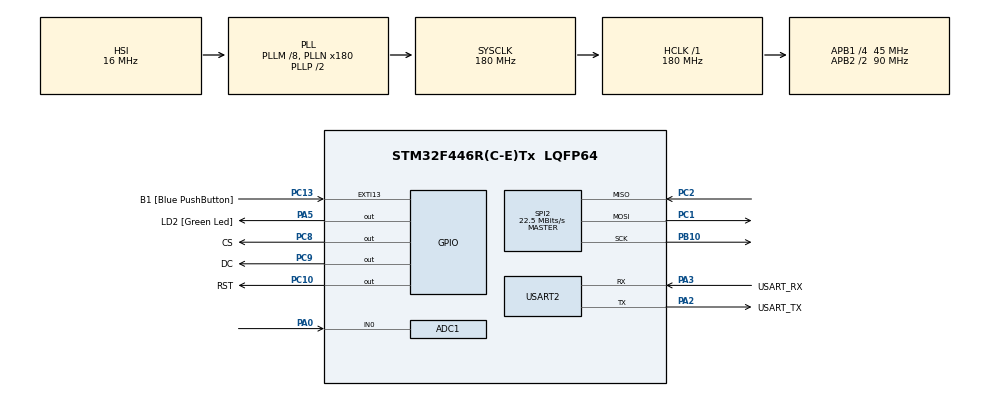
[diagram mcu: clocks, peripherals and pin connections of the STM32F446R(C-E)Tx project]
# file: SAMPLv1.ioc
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ADC1.Channel-0\#ChannelRegularConversion=ADC_CHANNEL_0
ADC1.ClockPrescaler=ADC_CLOCK_SYNC_PCLK_DIV4
ADC1.ContinuousConvMode=DISABLE
ADC1.ExternalTrigConv=ADC_EXTERNALTRIGCONV_T2_TRGO
ADC1.ExternalTrigConvEdge=ADC_EXTERNALTRIGCONVEDGE_RISING
ADC1.NbrOfConversion=1
ADC1.NbrOfConversionFlag=1
ADC1.Rank-0\#ChannelRegularConversion=1
ADC1.SamplingTime-0\#ChannelRegularConversion=ADC_SAMPLETIME_3CYCLES
ADC1.master=1
Dma.ADC1.0.Direction=DMA_PERIPH_TO_MEMORY
Dma.ADC1.0.FIFOMode=DMA_FIFOMODE_DISABLE
Dma.ADC1.0.Instance=DMA2_Stream0
Dma.ADC1.0.MemDataAlignment=DMA_MDATAALIGN_HALFWORD
Dma.ADC1.0.MemInc=DMA_MINC_ENABLE
Dma.ADC1.0.Mode=DMA_CIRCULAR
Dma.ADC1.0.PeriphDataAlignment=DMA_PDATAALIGN_HALFWORD
Dma.ADC1.0.PeriphInc=DMA_PINC_DISABLE
Dma.ADC1.0.Priority=DMA_PRIORITY_LOW
Dma.Request0=ADC1
Mcu.Family=STM32F4
Mcu.Name=STM32F446R(C-E)Tx
Mcu.Package=LQFP64
NVIC.DMA2_Stream0_IRQn=true\:0\:0\:false\:false\:true\:false\:true
NVIC.PriorityGroup=NVIC_PRIORITYGROUP_0
PA0-WKUP.Signal=ADCx_IN0
PA13.GPIO_Label=TMS
PA13.Mode=Serial_Wire
PA13.Signal=SYS_JTMS-SWDIO
PA14.GPIO_Label=TCK
PA14.Mode=Serial_Wire
PA14.Signal=SYS_JTCK-SWCLK
PA2.GPIO_Label=USART_TX
PA2.Mode=Asynchronous
PA2.Signal=USART2_TX
PA3.GPIO_Label=USART_RX
PA3.Mode=Asynchronous
PA3.Signal=USART2_RX
PA5.GPIO_Label=LD2 [Green Led]
PA5.Signal=GPIO_Output
PB10.Mode=Full_Duplex_Master
PB10.Signal=SPI2_SCK
PB3.GPIO_Label=SWO
PB3.Signal=SYS_JTDO-SWO
PC1.Mode=Full_Duplex_Master
PC1.Signal=SPI2_MOSI
PC10.GPIO_Label=RST
PC10.GPIO_Speed=GPIO_SPEED_FREQ_VERY_HIGH
PC10.Signal=GPIO_Output
PC13.GPIO_Label=B1 [Blue PushButton]
PC13.GPIO_ModeDefaultEXTI=GPIO_MODE_IT_FALLING
PC13.Signal=GPXTI13
PC14-OSC32_IN.Mode=LSE-External-Oscillator
PC14-OSC32_IN.Signal=RCC_OSC32_IN
PC15-OSC32_OUT.Mode=LSE-External-Oscillator
PC15-OSC32_OUT.Signal=RCC_OSC32_OUT
PC2.Mode=Full_Duplex_Master
PC2.Signal=SPI2_MISO
PC8.GPIO_Label=CS
PC8.GPIO_Speed=GPIO_SPEED_FREQ_VERY_HIGH
PC8.Signal=GPIO_Output
PC9.GPIO_Label=DC
PC9.GPIO_Speed=GPIO_SPEED_FREQ_VERY_HIGH
PC9.Signal=GPIO_Output
PH0-OSC_IN.Mode=HSE-External-Oscillator
PH0-OSC_IN.Signal=RCC_OSC_IN
PH1-OSC_OUT.Mode=HSE-External-Oscillator
PH1-OSC_OUT.Signal=RCC_OSC_OUT
ProjectManager.HeapSize=0x200
ProjectManager.StackSize=0x400
ProjectManager.TargetToolchain=MDK-ARM V5.27
RCC.48MHZClocksFreq_Value=84000000
RCC.AHBFreq_Value=180000000
RCC.APB1CLKDivider=RCC_HCLK_DIV4
RCC.APB1Freq_Value=45000000
RCC.APB1TimFreq_Value=90000000
RCC.APB2CLKDivider=RCC_HCLK_DIV2
RCC.APB2Freq_Value=90000000
RCC.APB2TimFreq_Value=180000000
RCC.CortexFreq_Value=180000000
RCC.FLatency-AdvancedSettings=FLASH_LATENCY_5
RCC.HCLKFreq_Value=180000000
RCC.HSE_VALUE=8000000
RCC.HSI_VALUE=16000000
RCC.PLLM=8
RCC.PLLN=180
RCC.SYSCLKFreq_VALUE=180000000
RCC.SYSCLKSource=RCC_SYSCLKSOURCE_PLLCLK
RCC.USBFreq_Value=180000000
RCC.VCOOutputFreq_Value=360000000
SH.ADCx_IN0.0=ADC1_IN0,IN0
SPI2.CalculateBaudRate=22.5 MBits/s
SPI2.Direction=SPI_DIRECTION_2LINES
SPI2.Mode=SPI_MODE_MASTER
SPI2.VirtualType=VM_MASTER
TIM2.AutoReloadPreload=TIM_AUTORELOAD_PRELOAD_ENABLE
TIM2.Period=3515
TIM2.Prescaler=0
TIM2.TIM_MasterOutputTrigger=TIM_TRGO_UPDATE
USART2.VirtualMode=VM_ASYNC
VP_TIM2_VS_ClockSourceINT.Mode=Internal
board=NUCLEO-F446RE

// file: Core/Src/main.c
/* USER CODE BEGIN Header */
/**
  ******************************************************************************
  * @file           : main.c
  * @brief          : Main program body
  ******************************************************************************
  * @attention
  *
  * <h2><center>&copy; Copyright (c) 2021 STMicroelectronics.
  * All rights reserved.</center></h2>
  *
  * This software component is licensed by ST under BSD 3-Clause license,
  * the "License"; You may not use this file except in compliance with the
  * License. You may obtain a copy of the License at:
  *                        opensource.org/licenses/BSD-3-Clause
  *
  ******************************************************************************
  */
/* USER CODE END Header */
#include "main.h"
#include "adc.h"
#include "dma.h"
#include "spi.h"
#include "tim.h"
#include "usart.h"
#include "gpio.h"

/* USER CODE BEGIN Includes */
#include "arm_math.h"
#include "ILI9341_GFX.h"
#include "ILI9341_STM32_Driver.h"
#include <stdio.h>
#include "BOUDISP.h"
/* USER CODE END Includes */

/* USER CODE BEGIN PD */
#define BLOCKSIZE 5120
#define NUMTAPS 12
//#define BG BLACK
//#define FG WHITE
//#define TG WHITE

/* USER CODE END PD */

/* USER CODE BEGIN PV */
uint16_t ping[BLOCKSIZE], pong[BLOCKSIZE],i;
q15_t pingo[BLOCKSIZE], pongo[BLOCKSIZE];
q15_t pingos[BLOCKSIZE], pongos[BLOCKSIZE];
q15_t D1i[BLOCKSIZE/2], A1i[BLOCKSIZE/2],D1o[BLOCKSIZE/2], A1o[BLOCKSIZE/2];
q15_t D2i[BLOCKSIZE/4], A2i[BLOCKSIZE/4],D2o[BLOCKSIZE/4], A2o[BLOCKSIZE/4];
q15_t D3i[BLOCKSIZE/8], A3i[BLOCKSIZE/8],D3o[BLOCKSIZE/8], A3o[BLOCKSIZE/8];
q15_t D4i[BLOCKSIZE/16], A4i[BLOCKSIZE/16],D4o[BLOCKSIZE/16], A4o[BLOCKSIZE/16];
q15_t D5i[BLOCKSIZE/32], A5i[BLOCKSIZE/32],D5o[BLOCKSIZE/32], A5o[BLOCKSIZE/32];
q15_t D6i[BLOCKSIZE/64], A6i[BLOCKSIZE/64],D6o[BLOCKSIZE/64], A6o[BLOCKSIZE/64];
q15_t D7i[BLOCKSIZE/128], A7i[BLOCKSIZE/128],D7o[BLOCKSIZE/128], A7o[BLOCKSIZE/128];
q15_t D8i[BLOCKSIZE/256], A8i[BLOCKSIZE/256],D8o[BLOCKSIZE/256], A8o[BLOCKSIZE/256];
q15_t D9i[BLOCKSIZE/512], A9i[BLOCKSIZE/512],D9o[BLOCKSIZE/512], A9o[BLOCKSIZE/512];
q15_t Vtrms,Ef,A9,D[9],Df[2],THDu,THDd,THD;
uint8_t pipongf=2,ext=0;
q15_t offset=0x2000;
static q15_t LPFs[BLOCKSIZE + NUMTAPS - 1];
static q15_t HPFs[BLOCKSIZE + NUMTAPS - 1];
 q15_t LPFc[NUMTAPS]={
	0.1115* 32768.0,  0.4946* 32768.0, 0.7511* 32768.0,  0.3153* 32768.0,
 -0.2263* 32768.0, -0.1298* 32768.0, 0.0975* 32768.0,  0.0275* 32768.0,
 -0.0316* 32768.0,  0.0006* 32768.0, 0.0048* 32768.0 ,-0.0011* 32768.0
};
 q15_t HPFc[NUMTAPS]={
 -0.0011* 32768.0, -0.0048* 32768.0,  0.0006* 32768.0,  0.0316* 32768.0,
  0.0275* 32768.0, -0.0975* 32768.0, -0.1298* 32768.0,  0.2262* 32768.0,
  0.3153* 32768.0, -0.7511* 32768.0,  0.4946* 32768.0, -0.1115* 32768.0,
};

/* USER CODE END PV */

void SystemClock_Config(void);

int main(void)
 {

  /* MCU Configuration--------------------------------------------------------*/

  /* Reset of all peripherals, Initializes the Flash interface and the Systick. */
  HAL_Init();

  /* USER CODE BEGIN Init */
	arm_fir_decimate_instance_q15 LPF,HPF;
	arm_fir_decimate_init_q15(&LPF,NUMTAPS,2,&LPFc[0],&LPFs[0],BLOCKSIZE);
	arm_fir_decimate_init_q15(&HPF,NUMTAPS,2,&HPFc[0],&HPFs[0],BLOCKSIZE);
//q15_t source,maxv;
//float32_t	dest,maxf;
//	uint32_t maxi;
//	source=0x0B4C;
//
//	arm_q15_to_float(&source,&dest,1);

  /* USER CODE END Init */

  /* Configure the system clock */
  SystemClock_Config();

  /* Initialize all configured peripherals */
  MX_GPIO_Init();
  MX_DMA_Init();
  MX_ADC1_Init();
  MX_TIM2_Init();
  MX_USART2_UART_Init();
  MX_SPI2_Init();
  /* USER CODE BEGIN 2 */
HAL_TIM_Base_Start(&htim2);
HAL_ADC_Start_DMA(&hadc1,(uint32_t *)ping,BLOCKSIZE);
ILI9341_Init();
initdisp();
  /* USER CODE END 2 */

  /* Infinite loop */
  /* USER CODE BEGIN WHILE */
  while (1)
  { if(pipongf==0&&ext==1) //traitement ping
   {
		arm_scale_q15((q15_t *)ping,0.999969*32768.0,2,pingos,BLOCKSIZE); //mise à l'échelle
		arm_offset_q15 (pingos,-offset,pingo,BLOCKSIZE);		//correction de décalage
		 //calcule des détails et approximations
		arm_fir_decimate_fast_q15(&LPF,pingo,A1i,BLOCKSIZE);	arm_fir_decimate_fast_q15(&HPF,pingo,D1i,BLOCKSIZE);
		arm_fir_decimate_fast_q15(&LPF,A1i,A2i,BLOCKSIZE/2);	arm_fir_decimate_fast_q15(&HPF,A1i,D2i,BLOCKSIZE/2);
		arm_fir_decimate_fast_q15(&LPF,A2i,A3i,BLOCKSIZE/4);	arm_fir_decimate_fast_q15(&HPF,A2i,D3i,BLOCKSIZE/4);
		arm_fir_decimate_fast_q15(&LPF,A3i,A4i,BLOCKSIZE/8);	arm_fir_decimate_fast_q15(&HPF,A3i,D4i,BLOCKSIZE/8);
		arm_fir_decimate_fast_q15(&LPF,A4i,A5i,BLOCKSIZE/16);	arm_fir_decimate_fast_q15(&HPF,A4i,D5i,BLOCKSIZE/16);
		arm_fir_decimate_fast_q15(&LPF,A5i,A6i,BLOCKSIZE/32);	arm_fir_decimate_fast_q15(&HPF,A5i,D6i,BLOCKSIZE/32);
		arm_fir_decimate_fast_q15(&LPF,A6i,A7i,BLOCKSIZE/64);	arm_fir_decimate_fast_q15(&HPF,A6i,D7i,BLOCKSIZE/64);
		arm_fir_decimate_fast_q15(&LPF,A7i,A8i,BLOCKSIZE/128);arm_fir_decimate_fast_q15(&HPF,A7i,D8i,BLOCKSIZE/128);
		arm_fir_decimate_fast_q15(&LPF,A8i,A9i,BLOCKSIZE/256);arm_fir_decimate_fast_q15(&HPF,A8i,D9i,BLOCKSIZE/256);
	  // extraction des indices

		arm_rms_q15 (pingo, BLOCKSIZE, &Vtrms); //VTRMS valeur efficace vrais
				//les valeurs efficaces des détails
		arm_rms_q15 (D1i, BLOCKSIZE/2, &D[0]);	arm_rms_q15 (D2i, BLOCKSIZE/4, &D[1]);	arm_rms_q15 (D3i, BLOCKSIZE/8, &D[2]);
		arm_rms_q15 (D4i, BLOCKSIZE/16, &D[3]);	arm_rms_q15 (D5i, BLOCKSIZE/32, &D[4]);	arm_rms_q15 (D6i, BLOCKSIZE/64, &D[5]);
		arm_rms_q15 (D7i, BLOCKSIZE/128, &D[6]);arm_rms_q15 (D8i, BLOCKSIZE/256, &Df[0]);arm_rms_q15 (D9i, BLOCKSIZE/256, &Df[1]);

		 arm_rms_q15 (A9i, BLOCKSIZE/256, &A9); //A9
		 arm_rms_q15(Df,2,&THDd);arm_rms_q15(D,7,&THDu);		 //THD, Ef
		 updategraph(Vtrms,THDu,A9,THDd,i++);
//		 arm_max_q15(pingo,BLOCKSIZE,&maxv,&maxi);
//		 arm_q15_to_float(&maxv,&maxf,1);
		 ext=0;
	 }
else if(pipongf==1&&ext==1) //traitement pong
   {
		arm_scale_q15((q15_t *)pong,0.999969*32768.0,2,pongos,BLOCKSIZE);
		arm_offset_q15 (pongos,-offset,pongo,BLOCKSIZE);
		arm_fir_decimate_fast_q15(&LPF,pongo,A1o,BLOCKSIZE);arm_fir_decimate_fast_q15(&HPF,pongo,D1o,BLOCKSIZE);
		arm_fir_decimate_fast_q15(&LPF,A1o,A2o,BLOCKSIZE/2);arm_fir_decimate_fast_q15(&HPF,A1o,D2o,BLOCKSIZE/2);
		arm_fir_decimate_fast_q15(&LPF,A2o,A3o,BLOCKSIZE/4);arm_fir_decimate_fast_q15(&HPF,A2o,D3o,BLOCKSIZE/4);
		arm_fir_decimate_fast_q15(&LPF,A3o,A4o,BLOCKSIZE/8);arm_fir_decimate_fast_q15(&HPF,A3o,D4o,BLOCKSIZE/8);
		arm_fir_decimate_fast_q15(&LPF,A4o,A5o,BLOCKSIZE/16);arm_fir_decimate_fast_q15(&HPF,A4o,D5o,BLOCKSIZE/16);
		arm_fir_decimate_fast_q15(&LPF,A5o,A6o,BLOCKSIZE/32);arm_fir_decimate_fast_q15(&HPF,A5o,D6o,BLOCKSIZE/32);
		arm_fir_decimate_fast_q15(&LPF,A6o,A7o,BLOCKSIZE/64);arm_fir_decimate_fast_q15(&HPF,A6o,D7o,BLOCKSIZE/64);
		arm_fir_decimate_fast_q15(&LPF,A7o,A8o,BLOCKSIZE/128);arm_fir_decimate_fast_q15(&HPF,A7o,D8o,BLOCKSIZE/128);
		arm_fir_decimate_fast_q15(&LPF,A8o,A9o,BLOCKSIZE/256);arm_fir_decimate_fast_q15(&HPF,A8o,D9o,BLOCKSIZE/256);
		 //indices
		arm_rms_q15 (pongo, BLOCKSIZE, &Vtrms);
		arm_rms_q15 (D1o, BLOCKSIZE/2, &D[0]);	arm_rms_q15 (D2o, BLOCKSIZE/4, &D[1]);	arm_rms_q15 (D3o, BLOCKSIZE/8, &D[2]);
		arm_rms_q15 (D4o, BLOCKSIZE/16, &D[3]);	arm_rms_q15 (D5o, BLOCKSIZE/32, &D[4]);	arm_rms_q15 (D6o, BLOCKSIZE/64, &D[5]);
		arm_rms_q15 (D7o, BLOCKSIZE/128, &D[6]);arm_rms_q15 (D8o, BLOCKSIZE/256, &Df[0]);arm_rms_q15 (D9o, BLOCKSIZE/256, &Df[1]);

		//A9=A9o[2];
		 arm_rms_q15 (A9o, BLOCKSIZE/256, &A9);
		arm_rms_q15(Df,2,&THDd);arm_rms_q15(D,7,&THDu);		 //THD, Ef
		 		 updategraph(Vtrms,THDu,A9,THDd,i++);
ext=0;
	 }
    /* USER CODE END WHILE */

	 }
}

void SystemClock_Config(void)
{
  RCC_OscInitTypeDef RCC_OscInitStruct = {0};
  RCC_ClkInitTypeDef RCC_ClkInitStruct = {0};

  /** Configure the main internal regulator output voltage
  */
  __HAL_RCC_PWR_CLK_ENABLE();
  __HAL_PWR_VOLTAGESCALING_CONFIG(PWR_REGULATOR_VOLTAGE_SCALE1);
  /** Initializes the RCC Oscillators according to the specified parameters
  * in the RCC_OscInitTypeDef structure.
  */
  RCC_OscInitStruct.OscillatorType = RCC_OSCILLATORTYPE_HSI;
  RCC_OscInitStruct.HSIState = RCC_HSI_ON;
  RCC_OscInitStruct.HSICalibrationValue = RCC_HSICALIBRATION_DEFAULT;
  RCC_OscInitStruct.PLL.PLLState = RCC_PLL_ON;
  RCC_OscInitStruct.PLL.PLLSource = RCC_PLLSOURCE_HSI;
  RCC_OscInitStruct.PLL.PLLM = 8;
  RCC_OscInitStruct.PLL.PLLN = 180;
  RCC_OscInitStruct.PLL.PLLP = RCC_PLLP_DIV2;
  RCC_OscInitStruct.PLL.PLLQ = 2;
  RCC_OscInitStruct.PLL.PLLR = 2;
  if (HAL_RCC_OscConfig(&RCC_OscInitStruct) != HAL_OK)
  {
    Error_Handler();
  }
  /** Activate the Over-Drive mode
  */
  if (HAL_PWREx_EnableOverDrive() != HAL_OK)
  {
    Error_Handler();
  }
  /** Initializes the CPU, AHB and APB buses clocks
  */
  RCC_ClkInitStruct.ClockType = RCC_CLOCKTYPE_HCLK|RCC_CLOCKTYPE_SYSCLK
                              |RCC_CLOCKTYPE_PCLK1|RCC_CLOCKTYPE_PCLK2;
  RCC_ClkInitStruct.SYSCLKSource = RCC_SYSCLKSOURCE_PLLCLK;
  RCC_ClkInitStruct.AHBCLKDivider = RCC_SYSCLK_DIV1;
  RCC_ClkInitStruct.APB1CLKDivider = RCC_HCLK_DIV4;
  RCC_ClkInitStruct.APB2CLKDivider = RCC_HCLK_DIV2;

  if (HAL_RCC_ClockConfig(&RCC_ClkInitStruct, FLASH_LATENCY_5) != HAL_OK)
  {
    Error_Handler();
  }
}

/* USER CODE BEGIN 4 */
void HAL_ADC_ConvCpltCallback(ADC_HandleTypeDef* hadc){

	if(pipongf==0){
		pipongf=1;
		ext=1;
		HAL_ADC_Stop_DMA(&hadc1);
HAL_ADC_Start_DMA(&hadc1,(uint32_t *)ping,BLOCKSIZE);

	}
else{
	pipongf=0;
	ext=1;
	HAL_ADC_Stop_DMA(&hadc1);
HAL_ADC_Start_DMA(&hadc1,(uint32_t *)pong,BLOCKSIZE);

}

}

/* USER CODE END 4 */

void Error_Handler(void)
{
  __disable_irq();
  while (1)
  {
  }
}

/************************ (C) COPYRIGHT STMicroelectronics *****END OF FILE****/
